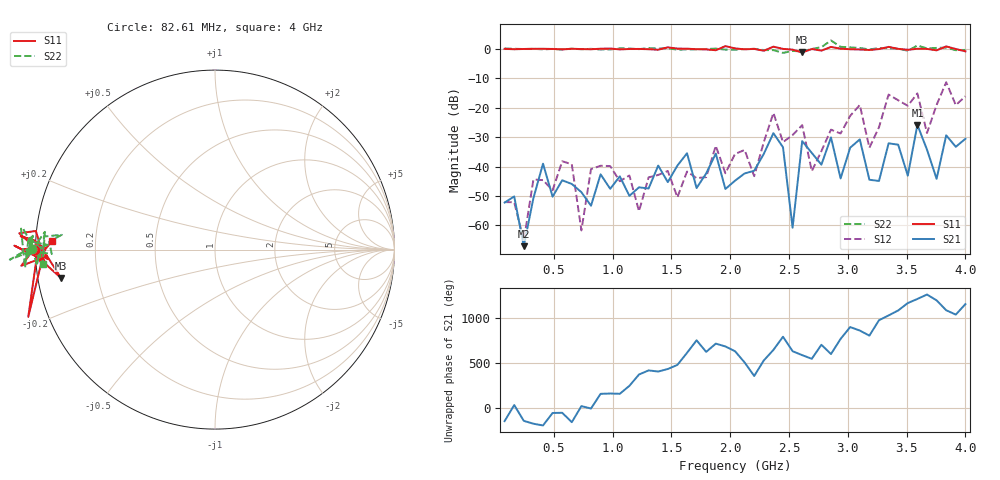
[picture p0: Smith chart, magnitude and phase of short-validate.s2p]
!Created with skrf (http://scikit-rf.org).
# GHz S DB R 50.0
!freq dBS11 angS11 dBS21 angS21 dBS12 angS12 dBS22 angS22
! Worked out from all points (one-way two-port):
!   49 points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, 82.61 MHz to 4 GHz, reference 50 ohm
!   highest |S21| = -25.79 dB at 3.592 GHz (marker M1); lowest = -67.0 dB at 245.8 MHz (marker M2)
!   lowest |S11| = -1.2 dB at 2.613 GHz (marker M3), VSWR 14.64, Z = 3.44 - j4.56 ohm
!   |S11| at or under -10 dB: nowhere
!   |S22| runs from -1.3 to 2.9 dB; largest |S21 - S12| = 0.28
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0.08261224  0.04 -179.9  -52.21 -141.5  -52.04 -151.4  0.16 179.7
0.2458367  -0.00 -179.9  -67.03 -138.5  -65.16 88.2  -0.01 -179.8
0.4090612  0.06 -178.7  -38.99 170.5  -44.57 54.9  -0.14 179.3
0.5722857  -0.14 -178.5  -44.63 -48.9  -38.16 0.2  -0.19 -179.0
0.7355102  -0.03 179.9  -48.68 24.8  -61.67 -179.0  -0.10 -179.4
0.8171224  -0.09 179.7  -53.29 -1.7  -40.85 80.3  0.05 179.7
1.225184  0.01 179.1  -47.02 15.0  -55.15 57.1  -0.05 -179.6
1.388408  -0.26 179.3  -39.64 48.1  -42.82 44.7  0.16 175.7
2.041306  0.19 -178.6  -44.77 -86.5  -35.70 48.8  -0.24 179.1
2.204531  0.02 -179.2  -41.39 -1.1  -43.24 -79.7  0.06 -178.1
2.367755  0.78 175.2  -28.61 -72.4  -21.75 -134.1  -0.40 175.6
2.449367  0.03 174.1  -33.41 74.0  -31.66 -71.3  -1.33 174.5
2.53098  -0.23 178.6  -60.76 -86.5  -29.26 123.3  -0.68 177.3
2.612592  -1.19 -169.5  -31.32 -130.4  -25.90 -123.1  -0.82 -178.4
2.694204  -0.02 -178.1  -35.33 -170.6  -41.53 103.4  -0.00 -179.3
2.775816  -0.57 -177.7  -39.32 -15.3  -34.71 -137.2  0.62 173.9
3.428714  0.04 177.1  -32.54 5.2  -17.44 -40.8  0.13 177.7
3.510327  -0.28 -175.5  -43.05 87.1  -19.30 113.0  -0.61 178.4
3.591939  0.07 -178.5  -25.79 132.7  -15.10 -148.0  1.17 -177.2
3.673551  0.03 179.4  -34.22 -178.5  -28.56 -31.9  0.19 179.2
3.755163  -0.46 179.5  -44.14 117.1  -19.03 140.0  0.36 -179.8
4  -0.81 177.1  -30.54 75.2  -16.07 128.6  -0.32 -175.1
